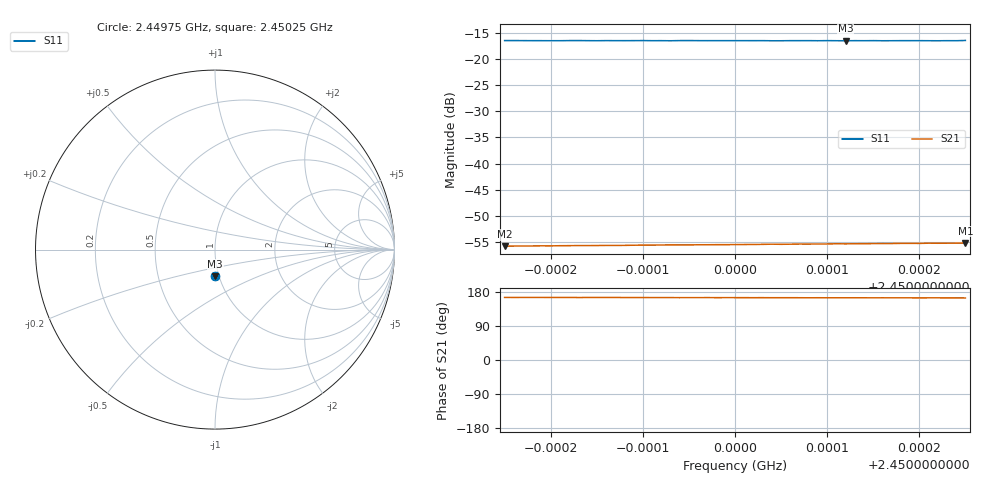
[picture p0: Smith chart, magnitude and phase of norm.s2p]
! NanoVNA-App
! Date: 2025-03-07 15:44:28
! Start: 2.4498GHz Stop: 2.4503GHz Points: 51
! S-Parameter data: F S11 S21 S12 S22
# Hz S RI R 50
!  Frequency  S11_Real  S11_Imag  S21_Real  S21_Imag  S12_Real  S12_Imag  S22_Real  S22_Imag
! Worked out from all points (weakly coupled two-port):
!   51 points, 2.44975 GHz to 2.45025 GHz, reference 50 ohm
!   highest |S21| = -55.20 dB at 2.45025 GHz (marker M1); lowest = -55.8 dB at 2.44975 GHz (marker M2)
!   lowest |S11| = -16.6 dB at 2.45012 GHz (marker M3), VSWR 1.35, Z = 47.9 - j14.6 ohm
!   |S11| at or under -10 dB: start of sweep to end of sweep
!   S12 and S22 are empty: the file has one direction only
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2.44975e9  0.00167 -0.1495  -0.00157 0.000417  0 0  0 0
2.44979e9  0.00167 -0.149  -0.00158 0.00042  0 0  0 0
2.44984e9  0.00145 -0.1491  -0.00159 0.000427  0 0  0 0
2.44992e9  0.00109 -0.1491  -0.00161 0.000439  0 0  0 0
2.44993e9  0.00116 -0.1488  -0.00161 0.000442  0 0  0 0
2.44995e9  0.00132 -0.1494  -0.00161 0.000443  0 0  0 0
2.45e9  0.00103 -0.1491  -0.00162 0.000447  0 0  0 0
2.45004e9  0.00102 -0.1488  -0.00163 0.000458  0 0  0 0
2.45005e9  0.00076 -0.1488  -0.00163 0.000455  0 0  0 0
2.45007e9  0.00113 -0.1491  -0.00164 0.00046  0 0  0 0
2.45008e9  0.000756 -0.1492  -0.00164 0.000464  0 0  0 0
2.45009e9  0.00103 -0.1489  -0.00164 0.000462  0 0  0 0
2.4501e9  0.000898 -0.1492  -0.00164 0.000465  0 0  0 0
2.45011e9  0.0011 -0.1489  -0.00165 0.000468  0 0  0 0
2.45012e9  0.00106 -0.1487  -0.00165 0.000466  0 0  0 0
2.45013e9  0.00102 -0.1491  -0.00165 0.000465  0 0  0 0
2.45017e9  0.000188 -0.1489  -0.00166 0.000473  0 0  0 0
2.45018e9  0.000633 -0.1491  -0.00166 0.000473  0 0  0 0
2.4502e9  0.000312 -0.1491  -0.00166 0.00048  0 0  0 0
2.45021e9  0.00087 -0.1489  -0.00167 0.000477  0 0  0 0
2.45024e9  7.32e-05 -0.1489  -0.00167 0.000483  0 0  0 0
2.45025e9  0.000229 -0.1498  -0.00167 0.000487  0 0  0 0
